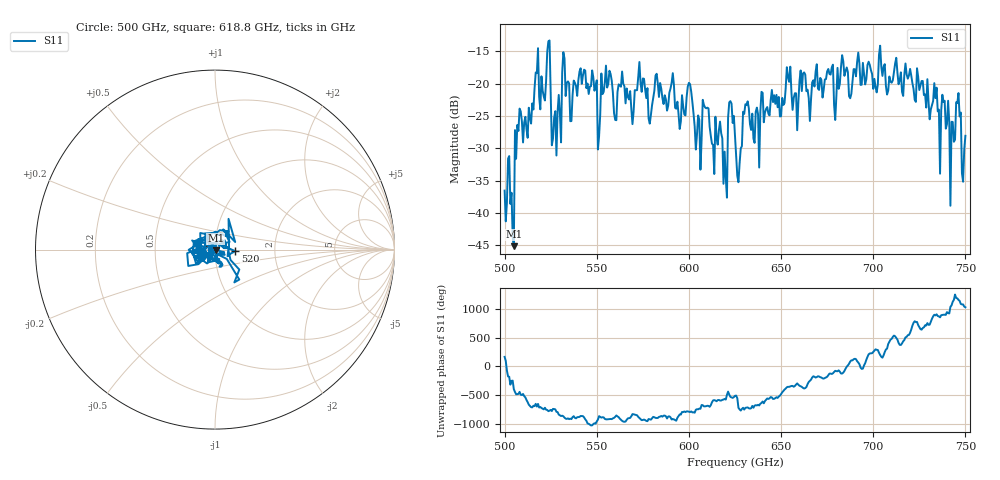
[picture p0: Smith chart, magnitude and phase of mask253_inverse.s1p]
!Created with skrf (http://scikit-rf.org).
# GHz S MA R 50.0
!freq magS11 angS11
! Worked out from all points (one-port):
!   401 points, 500 GHz to 750 GHz, reference 50 ohm
!   lowest |S11| = -45.1 dB at 505 GHz (marker M1), VSWR 1.01, Z = 50.4 - j0.339 ohm
!   |S11| at or under -10 dB: start of sweep to end of sweep
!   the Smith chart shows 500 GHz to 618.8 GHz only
!   S11 on the Smith chart (normalised r, x): 500 GHz: 0.97, +0.01; 520 GHz: 1.26, -0.02; 618.8 GHz: 0.97, +0.02
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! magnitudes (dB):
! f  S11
! 500 GHz  -36.5
! 505 GHz  -45.1
! 508.1 GHz  -23.9
! 520 GHz  -18.9
! 523.8 GHz  -13.5
! 526.9 GHz  -25.3
! 531.2 GHz  -18.2
! 548.8 GHz  -21.1
! 551.9 GHz  -24.8
! 553.8 GHz  -21.3
! 562.5 GHz  -20.3
! 590.6 GHz  -19.9
! 593.8 GHz  -22.8
! 600.6 GHz  -20.1
! 605 GHz  -24.9
! 608.8 GHz  -23.7
! 618.8 GHz  -35.5
! 622.5 GHz  -22.7
! 625 GHz  -28.0
! 626.9 GHz  -35.2
! 630.6 GHz  -23.2
! 636.9 GHz  -23.7
! 656.2 GHz  -24.1
! 687.5 GHz  -22.3
! 718.8 GHz  -19.2
! 743.1 GHz  -25.9
! 746.2 GHz  -21.5
! 750 GHz  -28.1
